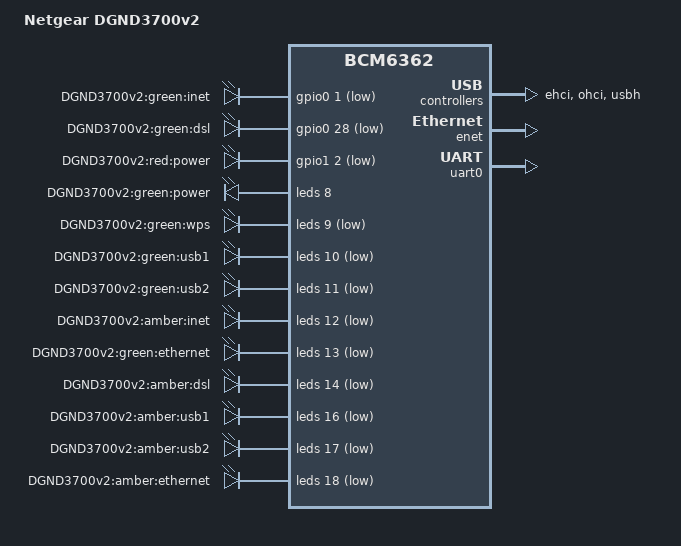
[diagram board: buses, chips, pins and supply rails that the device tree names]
// SPDX-License-Identifier: GPL-2.0+
/*
 * Copyright (C) 2018 Ãlvaro FernÃ¡ndez Rojas <noltari@gmail.com>
 */

/dts-v1/;

#include "brcm,bcm6362.dtsi"

/ {
	model = "Netgear DGND3700v2";
	compatible = "netgear,dgnd3700v2", "brcm,bcm6362";

	aliases {
		serial0 = &uart0;
	};

	chosen {
		stdout-path = "serial0:115200n8";
	};

	gpio-leds {
		compatible = "gpio-leds";

		inet_green {
			label = "DGND3700v2:green:inet";
			gpios = <&gpio0 1 GPIO_ACTIVE_LOW>;
		};

		dsl_green {
			label = "DGND3700v2:green:dsl";
			gpios = <&gpio0 28 GPIO_ACTIVE_LOW>;
		};

		power_amber {
			label = "DGND3700v2:red:power";
			gpios = <&gpio1 2 GPIO_ACTIVE_LOW>;
		};
	};
};

&ehci {
	status = "okay";
};

&enet {
	status = "okay";

	port@4 {
		compatible = "brcm,enetsw-port";
		reg = <4>;
		label = "rgmii";
		brcm,phy-id = <0xff>;
		speed = <1000>;
		full-duplex;
		bypass-link;
	};
};

&gpio0 {
	status = "okay";
};

&gpio1 {
	status = "okay";
};

&leds {
	status = "okay";
	brcm,serial-leds;
	brcm,serial-dat-low;
	brcm,serial-shift-inv;
	brcm,serial-mux;

	led@8 {
		reg = <8>;
		label = "DGND3700v2:green:power";
	};

	led@9 {
		reg = <9>;
		active-low;
		label = "DGND3700v2:green:wps";
	};

	led@10 {
		reg = <10>;
		active-low;
		label = "DGND3700v2:green:usb1";
	};

	led@11 {
		reg = <11>;
		active-low;
		label = "DGND3700v2:green:usb2";
	};

	led@12 {
		reg = <12>;
		active-low;
		label = "DGND3700v2:amber:inet";
	};

	led@13 {
		reg = <13>;
		active-low;
		label = "DGND3700v2:green:ethernet";
	};

	led@14 {
		reg = <14>;
		active-low;
		label = "DGND3700v2:amber:dsl";
	};

	led@16 {
		reg = <16>;
		active-low;
		label = "DGND3700v2:amber:usb1";
	};

	led@17 {
		reg = <17>;
		active-low;
		label = "DGND3700v2:amber:usb2";
	};

	led@18 {
		reg = <18>;
		active-low;
		label = "DGND3700v2:amber:ethernet";
	};
};

&ohci {
	status = "okay";
};

&uart0 {
	u-boot,dm-pre-reloc;
	status = "okay";
};

&usbh {
	status = "okay";
};
